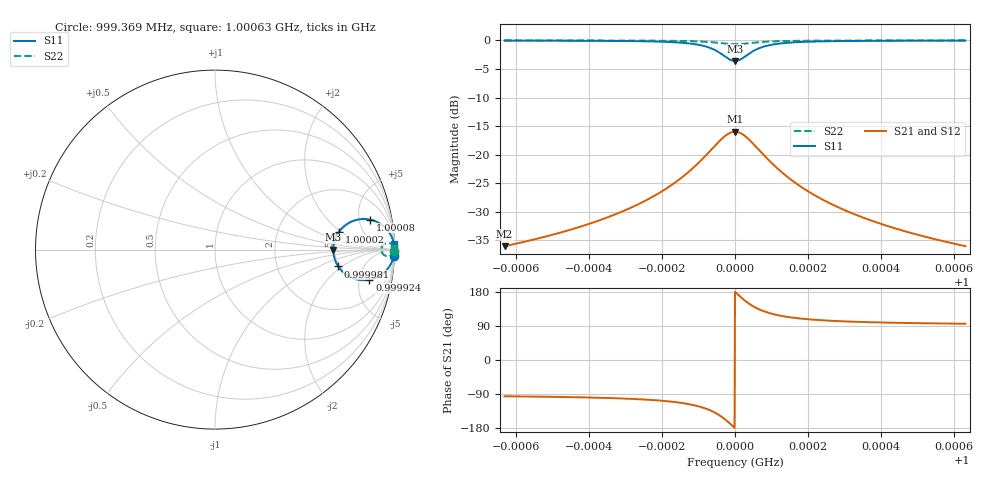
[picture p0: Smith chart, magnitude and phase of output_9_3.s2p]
! File generated for n1 = 9, n2 = 3
! b1 = 0.215443
! b2 = 0.046416
! Q0 = 10000.000000
! f0 = 1000000000.000000
! n = 1001
! rel_span = 10.000000
# Hz S RI R 50
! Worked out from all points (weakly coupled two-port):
!   1001 points, 999.369 MHz to 1.00063 GHz, reference 50 ohm
!   highest |S21| = -16.00 dB at 1 GHz (marker M1); lowest = -36.0 dB at 999.369 MHz (marker M2)
!   lowest |S11| = -3.6 dB at 1 GHz (marker M3), VSWR 4.86, Z = 243 + j0 ohm
!   |S11| at or under -10 dB: nowhere
!   |S22| runs from -0.7 to 0.0 dB; largest |S21 - S12| = 0
!   S11 on the Smith chart (normalised r, x): 999.369 MHz: 5, -59; 999.924 MHz: 4.86, -7.03; 999.981 MHz: 4.86, -1.76; 1.00002 GHz: 4.86, +1.87; 1.00008 GHz: 4.86, +7.15; 1.00063 GHz: 5, +59
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9.993691e8  0.9966 -0.0338  -0.00157 -0.0157  -0.00157 -0.0157  0.9993 -0.00728
9.994776e8  0.9951 -0.0406  -0.00228 -0.0189  -0.00228 -0.0189  0.9989 -0.00876
9.995798e8  0.9925 -0.0501  -0.00349 -0.0233  -0.00349 -0.0233  0.9984 -0.0108
9.996959e8  0.9859 -0.0679  -0.00654 -0.0315  -0.00654 -0.0315  0.997 -0.0146
9.997905e8  0.9716 -0.0943  -0.0132 -0.0438  -0.0132 -0.0438  0.9939 -0.0203
9.998713e8  0.9339 -0.135  -0.0307 -0.0626  -0.0307 -0.0626  0.9857 -0.0291
9.999003e8  0.9023 -0.1543  -0.0453 -0.0716  -0.0453 -0.0716  0.979 -0.0332
9.999243e8  0.8601 -0.1679  -0.065 -0.0779  -0.065 -0.0779  0.9699 -0.0362
9.999558e8  0.7708 -0.1604  -0.1064 -0.0745  -0.1064 -0.0745  0.9506 -0.0346
9.999685e8  0.7268 -0.1366  -0.1268 -0.0634  -0.1268 -0.0634  0.9411 -0.0294
9.999811e8  0.6867 -0.094  -0.1454 -0.0436  -0.1454 -0.0436  0.9325 -0.0202
1e9  0.6585 0  -0.1585 0  -0.1585 0  0.9264 0
1.00002e9  0.6902 0.0991  -0.1438 0.046  -0.1438 0.046  0.9333 0.0214
1.000044e9  0.7708 0.1604  -0.1064 0.0745  -0.1064 0.0745  0.9506 0.0346
1.000077e9  0.8628 0.1674  -0.0637 0.0777  -0.0637 0.0777  0.9704 0.0361
1.000101e9  0.9041 0.1535  -0.0445 0.0712  -0.0445 0.0712  0.9793 0.0331
1.00013e9  0.9349 0.1342  -0.0302 0.0623  -0.0302 0.0623  0.986 0.0289
1.000211e9  0.9719 0.0938  -0.013 0.0436  -0.013 0.0436  0.9939 0.0202
1.000305e9  0.986 0.0677  -0.00649 0.0314  -0.00649 0.0314  0.997 0.0146
1.000421e9  0.9925 0.05  -0.00348 0.0232  -0.00348 0.0232  0.9984 0.0108
1.000524e9  0.9951 0.0406  -0.00227 0.0188  -0.00227 0.0188  0.9989 0.00874
1.000631e9  0.9966 0.0338  -0.00157 0.0157  -0.00157 0.0157  0.9993 0.00729
